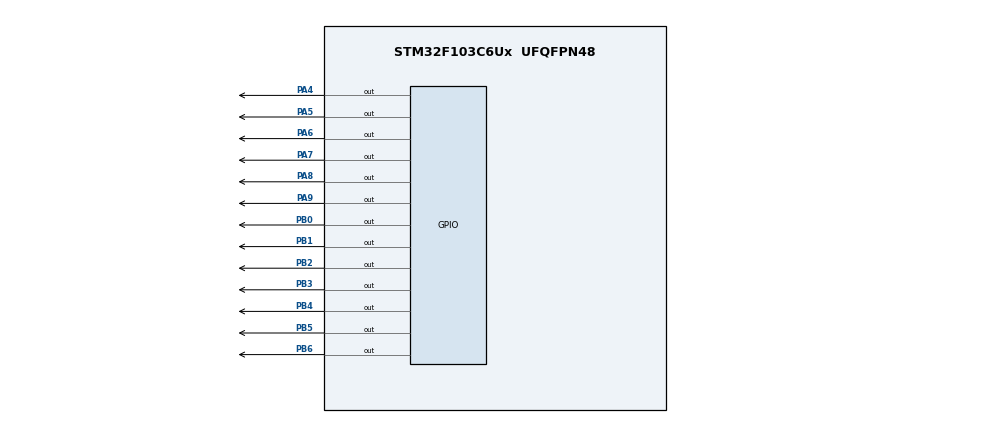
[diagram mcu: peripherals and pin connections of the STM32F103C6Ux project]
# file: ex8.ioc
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Mcu.Family=STM32F1
Mcu.Name=STM32F103C6Ux
Mcu.Package=UFQFPN48
NVIC.PriorityGroup=NVIC_PRIORITYGROUP_4
NVIC.TIM2_IRQn=true\:0\:0\:false\:false\:true\:true\:true\:true
PA4.Signal=GPIO_Output
PA5.Signal=GPIO_Output
PA6.Signal=GPIO_Output
PA7.Signal=GPIO_Output
PA8.Signal=GPIO_Output
PA9.Signal=GPIO_Output
PB0.Signal=GPIO_Output
PB1.Signal=GPIO_Output
PB2.Signal=GPIO_Output
PB3.Signal=GPIO_Output
PB4.Signal=GPIO_Output
PB5.Signal=GPIO_Output
PB6.Signal=GPIO_Output
ProjectManager.HeapSize=0x200
ProjectManager.StackSize=0x400
ProjectManager.TargetToolchain=STM32CubeIDE
RCC.APB1Freq_Value=8000000
RCC.APB2Freq_Value=8000000
TIM2.Period=9
TIM2.Prescaler=7999
VP_TIM2_VS_ClockSourceINT.Mode=Internal
board=custom

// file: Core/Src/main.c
/* USER CODE BEGIN Header */
/**
  ******************************************************************************
  * @file           : main.c
  * @brief          : Main program body
  ******************************************************************************
  * @attention
  *
  * Copyright (c) 2022 STMicroelectronics.
  * All rights reserved.
  *
  * This software is licensed under terms that can be found in the LICENSE file
  * in the root directory of this software component.
  * If no LICENSE file comes with this software, it is provided AS-IS.
  *
  ******************************************************************************
  */
/* USER CODE END Header */
#include "main.h"

TIM_HandleTypeDef htim2;

void SystemClock_Config(void);
static void MX_GPIO_Init(void);
static void MX_TIM2_Init(void);

/* USER CODE BEGIN 0 */
void display7SEG(int num) {
	switch(num) {
	case 0:
		HAL_GPIO_WritePin(GPIOB, GPIO_PIN_0, RESET);
		HAL_GPIO_WritePin(GPIOB, GPIO_PIN_1, RESET);
		HAL_GPIO_WritePin(GPIOB, GPIO_PIN_2, RESET);
		HAL_GPIO_WritePin(GPIOB, GPIO_PIN_3, RESET);
		HAL_GPIO_WritePin(GPIOB, GPIO_PIN_4, RESET);
		HAL_GPIO_WritePin(GPIOB, GPIO_PIN_5, RESET);
		HAL_GPIO_WritePin(GPIOB, GPIO_PIN_6, SET);
		break;
	case 1:
		HAL_GPIO_WritePin(GPIOB, GPIO_PIN_0, SET);
		HAL_GPIO_WritePin(GPIOB, GPIO_PIN_1, RESET);
		HAL_GPIO_WritePin(GPIOB, GPIO_PIN_2, RESET);
		HAL_GPIO_WritePin(GPIOB, GPIO_PIN_3, SET);
		HAL_GPIO_WritePin(GPIOB, GPIO_PIN_4, SET);
		HAL_GPIO_WritePin(GPIOB, GPIO_PIN_5, SET);
		HAL_GPIO_WritePin(GPIOB, GPIO_PIN_6, SET);
		break;
	case 2:
		HAL_GPIO_WritePin(GPIOB, GPIO_PIN_0, RESET);
		HAL_GPIO_WritePin(GPIOB, GPIO_PIN_1, RESET);
		HAL_GPIO_WritePin(GPIOB, GPIO_PIN_2, SET);
		HAL_GPIO_WritePin(GPIOB, GPIO_PIN_3, RESET);
		HAL_GPIO_WritePin(GPIOB, GPIO_PIN_4, RESET);
		HAL_GPIO_WritePin(GPIOB, GPIO_PIN_5, SET);
		HAL_GPIO_WritePin(GPIOB, GPIO_PIN_6, RESET);
		break;
	case 3:
		HAL_GPIO_WritePin(GPIOB, GPIO_PIN_0, RESET);
		HAL_GPIO_WritePin(GPIOB, GPIO_PIN_1, RESET);
		HAL_GPIO_WritePin(GPIOB, GPIO_PIN_2, RESET);
		HAL_GPIO_WritePin(GPIOB, GPIO_PIN_3, RESET);
		HAL_GPIO_WritePin(GPIOB, GPIO_PIN_4, SET);
		HAL_GPIO_WritePin(GPIOB, GPIO_PIN_5, SET);
		HAL_GPIO_WritePin(GPIOB, GPIO_PIN_6, RESET);
		break;
	case 4:
		HAL_GPIO_WritePin(GPIOB, GPIO_PIN_0, SET);
		HAL_GPIO_WritePin(GPIOB, GPIO_PIN_1, RESET);
		HAL_GPIO_WritePin(GPIOB, GPIO_PIN_2, RESET);
		HAL_GPIO_WritePin(GPIOB, GPIO_PIN_3, SET);
		HAL_GPIO_WritePin(GPIOB, GPIO_PIN_4, SET);
		HAL_GPIO_WritePin(GPIOB, GPIO_PIN_5, RESET);
		HAL_GPIO_WritePin(GPIOB, GPIO_PIN_6, RESET);
		break;
	case 5:
		HAL_GPIO_WritePin(GPIOB, GPIO_PIN_0, RESET);
		HAL_GPIO_WritePin(GPIOB, GPIO_PIN_1, SET);
		HAL_GPIO_WritePin(GPIOB, GPIO_PIN_2, RESET);
		HAL_GPIO_WritePin(GPIOB, GPIO_PIN_3, RESET);
		HAL_GPIO_WritePin(GPIOB, GPIO_PIN_4, SET);
		HAL_GPIO_WritePin(GPIOB, GPIO_PIN_5, RESET);
		HAL_GPIO_WritePin(GPIOB, GPIO_PIN_6, RESET);
		break;
	case 6:
		HAL_GPIO_WritePin(GPIOB, GPIO_PIN_0, RESET);
		HAL_GPIO_WritePin(GPIOB, GPIO_PIN_1, SET);
		HAL_GPIO_WritePin(GPIOB, GPIO_PIN_2, RESET);
		HAL_GPIO_WritePin(GPIOB, GPIO_PIN_3, RESET);
		HAL_GPIO_WritePin(GPIOB, GPIO_PIN_4, RESET);
		HAL_GPIO_WritePin(GPIOB, GPIO_PIN_5, RESET);
		HAL_GPIO_WritePin(GPIOB, GPIO_PIN_6, RESET);
		break;
	case 7:
		HAL_GPIO_WritePin(GPIOB, GPIO_PIN_0, RESET);
		HAL_GPIO_WritePin(GPIOB, GPIO_PIN_1, RESET);
		HAL_GPIO_WritePin(GPIOB, GPIO_PIN_2, RESET);
		HAL_GPIO_WritePin(GPIOB, GPIO_PIN_3, SET);
		HAL_GPIO_WritePin(GPIOB, GPIO_PIN_4, SET);
		HAL_GPIO_WritePin(GPIOB, GPIO_PIN_5, SET);
		HAL_GPIO_WritePin(GPIOB, GPIO_PIN_6, SET);
		break;
	case 8:
		HAL_GPIO_WritePin(GPIOB, GPIO_PIN_0, RESET);
		HAL_GPIO_WritePin(GPIOB, GPIO_PIN_1, RESET);
		HAL_GPIO_WritePin(GPIOB, GPIO_PIN_2, RESET);
		HAL_GPIO_WritePin(GPIOB, GPIO_PIN_3, RESET);
		HAL_GPIO_WritePin(GPIOB, GPIO_PIN_4, RESET);
		HAL_GPIO_WritePin(GPIOB, GPIO_PIN_5, RESET);
		HAL_GPIO_WritePin(GPIOB, GPIO_PIN_6, RESET);
		break;
	case 9:
		HAL_GPIO_WritePin(GPIOB, GPIO_PIN_0, RESET);
		HAL_GPIO_WritePin(GPIOB, GPIO_PIN_1, RESET);
		HAL_GPIO_WritePin(GPIOB, GPIO_PIN_2, RESET);
		HAL_GPIO_WritePin(GPIOB, GPIO_PIN_3, RESET);
		HAL_GPIO_WritePin(GPIOB, GPIO_PIN_4, SET);
		HAL_GPIO_WritePin(GPIOB, GPIO_PIN_5, RESET);
		HAL_GPIO_WritePin(GPIOB, GPIO_PIN_6, RESET);
		break;
	}
}
const int MAX_LED = 4;
int index_led = 0;
int led_buffer [4] = {1 , 2 , 3 , 4};
void update7SEG ( int index ) {
	switch ( index ) {
	case 0:
		// Display the first 7 SEG with led_buffer [0]
		HAL_GPIO_WritePin(GPIOA, GPIO_PIN_6, 0);
		HAL_GPIO_WritePin(GPIOA, GPIO_PIN_7|GPIO_PIN_8|GPIO_PIN_9, 1);
		display7SEG(led_buffer[0]);
		break ;
	case 1:
		// Display the second 7 SEG with led_buffer [1]
		HAL_GPIO_WritePin(GPIOA, GPIO_PIN_7, 0);
		HAL_GPIO_WritePin(GPIOA, GPIO_PIN_6|GPIO_PIN_8|GPIO_PIN_9, 1);
		display7SEG(led_buffer[1]);
		break ;
	case 2:
		// Display the third 7 SEG with led_buffer [2]
		HAL_GPIO_WritePin(GPIOA, GPIO_PIN_8, 0);
		HAL_GPIO_WritePin(GPIOA, GPIO_PIN_6|GPIO_PIN_7|GPIO_PIN_9, 1);
		display7SEG(led_buffer[2]);
		break ;
	case 3:
		// Display the forth 7 SEG with led_buffer [3]
		HAL_GPIO_WritePin(GPIOA, GPIO_PIN_9, 0);
		HAL_GPIO_WritePin(GPIOA, GPIO_PIN_6|GPIO_PIN_7|GPIO_PIN_8, 1);
		display7SEG(led_buffer[3]);
		break ;
	default :
		break ;
	}
 }

int hour = 15 , minute = 8 , second = 50;
void updateClockBuffer() {
	led_buffer[0] = hour/10;
	led_buffer[1] = hour%10;
	led_buffer[2] = minute/10;
	led_buffer[3] = minute%10;
}

int TIMER_CYCLE = 10;
int timer0_counter = 0;
int timer0_flag = 0;

int timer1_counter = 0;
int timer1_flag = 0;

int timer2_counter = 0;
int timer2_flag = 0;

void setTimer0 ( int duration ) {
	timer0_counter = duration / TIMER_CYCLE ;
	timer0_flag = 0;
}

void setTimer1 ( int duration ) {
	timer1_counter = duration / TIMER_CYCLE ;
	timer1_flag = 0;
}

void setTimer2 ( int duration ) {
	timer2_counter = duration / TIMER_CYCLE ;
	timer2_flag = 0;
}

void timer_run () {
	if (timer0_counter > 0) {
		timer0_counter --;
		if( timer0_counter == 0) timer0_flag = 1;
	}
	if (timer1_counter > 0) {
		timer1_counter --;
		if( timer1_counter == 0) timer1_flag = 1;
	}
	if (timer2_counter > 0) {
		timer2_counter --;
		if( timer2_counter == 0) timer2_flag = 1;
	}
}
/* USER CODE END 0 */

int main(void)
{

  /* MCU Configuration--------------------------------------------------------*/

  /* Reset of all peripherals, Initializes the Flash interface and the Systick. */
  HAL_Init();

  /* Configure the system clock */
  SystemClock_Config();

  /* Initialize all configured peripherals */
  MX_GPIO_Init();
  MX_TIM2_Init();
  /* USER CODE BEGIN 2 */
  HAL_TIM_Base_Start_IT(&htim2);
  //int hour = 15 , minute = 8 , second = 50;
  setTimer0(1000);
  setTimer1(1000);
  setTimer2(250);
  /* USER CODE END 2 */

  /* Infinite loop */
  /* USER CODE BEGIN WHILE */
  while (1)
  {
	  if (timer0_flag == 1) {
		  HAL_GPIO_TogglePin(GPIOA, GPIO_PIN_5);
		  HAL_GPIO_TogglePin(GPIOA, GPIO_PIN_4);
		  setTimer0(1000);
	  }
	  if (timer1_flag == 1) {
		  second ++;
		  if (second >= 60) {
			  second = 0;
	  	  minute ++;
		  }
		  if (minute >= 60) {
			  minute = 0;
			  hour ++;
		  }
  	  	  if(hour >= 24) {
  	  		  hour = 0;
  	  	  }
  	  	  updateClockBuffer () ;
  	  	  setTimer1(1000);
	  }
	  if (timer2_flag == 1) {
		  if (index_led >= 4) index_led = 0;
		  update7SEG(index_led++);
		  setTimer2(250);
	  }

    /* USER CODE END WHILE */

  }
}

void SystemClock_Config(void)
{
  RCC_OscInitTypeDef RCC_OscInitStruct = {0};
  RCC_ClkInitTypeDef RCC_ClkInitStruct = {0};

  /** Initializes the RCC Oscillators according to the specified parameters
  * in the RCC_OscInitTypeDef structure.
  */
  RCC_OscInitStruct.OscillatorType = RCC_OSCILLATORTYPE_HSI;
  RCC_OscInitStruct.HSIState = RCC_HSI_ON;
  RCC_OscInitStruct.HSICalibrationValue = RCC_HSICALIBRATION_DEFAULT;
  RCC_OscInitStruct.PLL.PLLState = RCC_PLL_NONE;
  if (HAL_RCC_OscConfig(&RCC_OscInitStruct) != HAL_OK)
  {
    Error_Handler();
  }

  /** Initializes the CPU, AHB and APB buses clocks
  */
  RCC_ClkInitStruct.ClockType = RCC_CLOCKTYPE_HCLK|RCC_CLOCKTYPE_SYSCLK
                              |RCC_CLOCKTYPE_PCLK1|RCC_CLOCKTYPE_PCLK2;
  RCC_ClkInitStruct.SYSCLKSource = RCC_SYSCLKSOURCE_HSI;
  RCC_ClkInitStruct.AHBCLKDivider = RCC_SYSCLK_DIV1;
  RCC_ClkInitStruct.APB1CLKDivider = RCC_HCLK_DIV1;
  RCC_ClkInitStruct.APB2CLKDivider = RCC_HCLK_DIV1;

  if (HAL_RCC_ClockConfig(&RCC_ClkInitStruct, FLASH_LATENCY_0) != HAL_OK)
  {
    Error_Handler();
  }
}

static void MX_TIM2_Init(void)
{

  TIM_ClockConfigTypeDef sClockSourceConfig = {0};
  TIM_MasterConfigTypeDef sMasterConfig = {0};

  htim2.Instance = TIM2;
  htim2.Init.Prescaler = 7999;
  htim2.Init.CounterMode = TIM_COUNTERMODE_UP;
  htim2.Init.Period = 9;
  htim2.Init.ClockDivision = TIM_CLOCKDIVISION_DIV1;
  htim2.Init.AutoReloadPreload = TIM_AUTORELOAD_PRELOAD_DISABLE;
  if (HAL_TIM_Base_Init(&htim2) != HAL_OK)
  {
    Error_Handler();
  }
  sClockSourceConfig.ClockSource = TIM_CLOCKSOURCE_INTERNAL;
  if (HAL_TIM_ConfigClockSource(&htim2, &sClockSourceConfig) != HAL_OK)
  {
    Error_Handler();
  }
  sMasterConfig.MasterOutputTrigger = TIM_TRGO_RESET;
  sMasterConfig.MasterSlaveMode = TIM_MASTERSLAVEMODE_DISABLE;
  if (HAL_TIMEx_MasterConfigSynchronization(&htim2, &sMasterConfig) != HAL_OK)
  {
    Error_Handler();
  }

}

static void MX_GPIO_Init(void)
{
  GPIO_InitTypeDef GPIO_InitStruct = {0};

  /* GPIO Ports Clock Enable */
  __HAL_RCC_GPIOA_CLK_ENABLE();
  __HAL_RCC_GPIOB_CLK_ENABLE();

  /*Configure GPIO pin Output Level */
  HAL_GPIO_WritePin(GPIOA, GPIO_PIN_4|GPIO_PIN_5|GPIO_PIN_6|GPIO_PIN_7
                          |GPIO_PIN_8|GPIO_PIN_9, GPIO_PIN_RESET);

  /*Configure GPIO pin Output Level */
  HAL_GPIO_WritePin(GPIOB, GPIO_PIN_0|GPIO_PIN_1|GPIO_PIN_2|GPIO_PIN_3
                          |GPIO_PIN_4|GPIO_PIN_5|GPIO_PIN_6, GPIO_PIN_RESET);

  /*Configure GPIO pins : PA4 PA5 PA6 PA7
                           PA8 PA9 */
  GPIO_InitStruct.Pin = GPIO_PIN_4|GPIO_PIN_5|GPIO_PIN_6|GPIO_PIN_7
                          |GPIO_PIN_8|GPIO_PIN_9;
  GPIO_InitStruct.Mode = GPIO_MODE_OUTPUT_PP;
  GPIO_InitStruct.Pull = GPIO_NOPULL;
  GPIO_InitStruct.Speed = GPIO_SPEED_FREQ_LOW;
  HAL_GPIO_Init(GPIOA, &GPIO_InitStruct);

  /*Configure GPIO pins : PB0 PB1 PB2 PB3
                           PB4 PB5 PB6 */
  GPIO_InitStruct.Pin = GPIO_PIN_0|GPIO_PIN_1|GPIO_PIN_2|GPIO_PIN_3
                          |GPIO_PIN_4|GPIO_PIN_5|GPIO_PIN_6;
  GPIO_InitStruct.Mode = GPIO_MODE_OUTPUT_PP;
  GPIO_InitStruct.Pull = GPIO_NOPULL;
  GPIO_InitStruct.Speed = GPIO_SPEED_FREQ_LOW;
  HAL_GPIO_Init(GPIOB, &GPIO_InitStruct);

}

/* USER CODE BEGIN 4 */
void HAL_TIM_PeriodElapsedCallback ( TIM_HandleTypeDef * htim )
{
	timer_run();
}
/* USER CODE END 4 */

void Error_Handler(void)
{
  __disable_irq();
  while (1)
  {
  }
}
